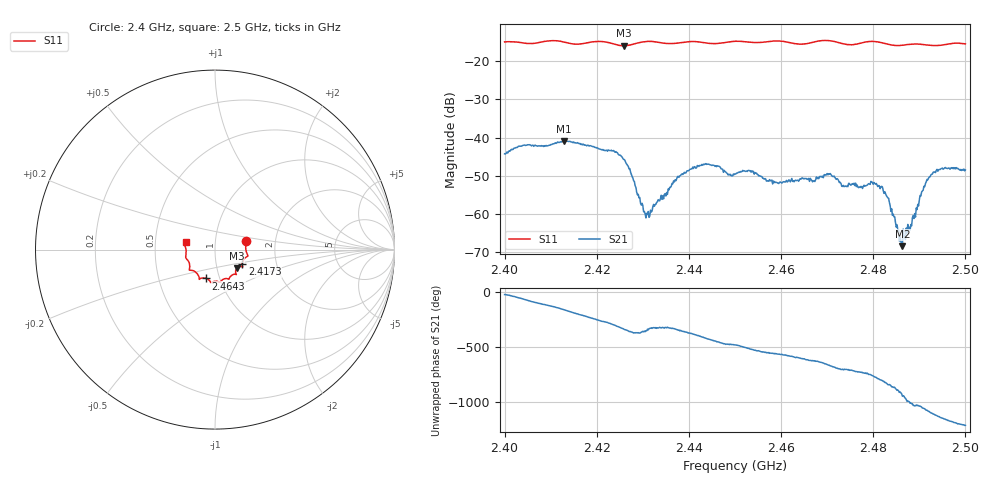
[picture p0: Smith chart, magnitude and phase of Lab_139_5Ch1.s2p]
# Hz S RI R 50
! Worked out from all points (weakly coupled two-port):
!   601 points, 2.4 GHz to 2.5 GHz, reference 50 ohm
!   highest |S21| = -40.90 dB at 2.4128 GHz (marker M1); lowest = -68.5 dB at 2.4863 GHz (marker M2)
!   lowest |S11| = -15.9 dB at 2.4258 GHz (marker M3), VSWR 1.38, Z = 62.3 - j13.3 ohm
!   |S11| at or under -10 dB: start of sweep to end of sweep
!   S12 and S22 are empty: the file has one direction only
!   S11 on the Smith chart (normalised r, x): 2.4 GHz: 1.41, +0.14; 2.4173 GHz: 1.34, -0.23; 2.4643 GHz: 0.86, -0.28; 2.5 GHz: 0.72, +0.06
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2.4e9  0.1731 0.0489  0.00556 -0.00257  0 0  0 0
2.412833e9  0.1753 -0.0406  -0.0086 -0.0027  0 0  0 0
2.416667e9  0.1526 -0.0744  -0.00703 0.00429  0 0  0 0
2.417333e9  0.1518 -0.0817  -0.00619 0.00496  0 0  0 0
2.425833e9  0.1218 -0.1038  0.00478 0.00196  0 0  0 0
2.4305e9  0.1182 -0.138  0.001 -2.13e-05  0 0  0 0
2.433333e9  0.113 -0.1373  0.0013 0.000806  0 0  0 0
2.438e9  0.0822 -0.1544  0.00312 0.000353  0 0  0 0
2.442333e9  0.0731 -0.1637  0.00323 -0.00285  0 0  0 0
2.45e9  0.0289 -0.181  -0.00173 -0.00284  0 0  0 0
2.4535e9  0.0139 -0.1771  -0.00331 -0.00119  0 0  0 0
2.459167e9  -0.0228 -0.184  -0.00233 0.00105  0 0  0 0
2.464333e9  -0.0499 -0.1606  -0.00122 0.00258  0 0  0 0
2.466667e9  -0.076 -0.1592  -0.000189 0.00273  0 0  0 0
2.470333e9  -0.0877 -0.1653  0.00195 0.00272  0 0  0 0
2.473667e9  -0.095 -0.1399  0.00217 0.000689  0 0  0 0
2.48e9  -0.1433 -0.1132  0.00179 -0.00166  0 0  0 0
2.483333e9  -0.1407 -0.0897  -0.000884 -0.00134  0 0  0 0
2.485833e9  -0.1483 -0.0641  -0.000492 7.22e-05  0 0  0 0
2.486333e9  -0.151 -0.0602  -0.000257 0.000274  0 0  0 0
2.492667e9  -0.1606 -0.0181  0.00308 -0.00118  0 0  0 0
2.5e9  -0.1638 0.0425  -0.00248 -0.00283  0 0  0 0
